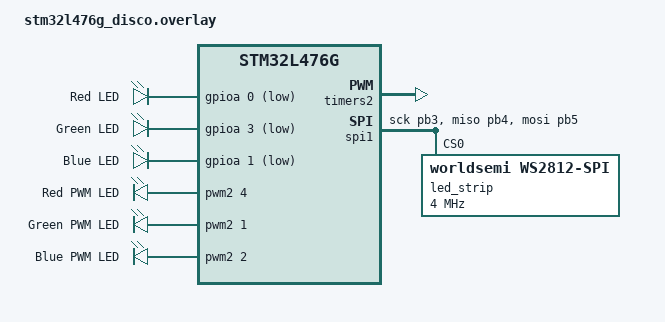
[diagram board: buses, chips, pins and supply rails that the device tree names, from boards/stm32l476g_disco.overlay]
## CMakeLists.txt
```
cmake_minimum_required(VERSION 3.20.5)

list(APPEND ZEPHYR_EXTRA_MODULES ${CMAKE_CURRENT_LIST_DIR}/../../)
find_package(Zephyr REQUIRED HINTS $ENV{ZEPHYR_BASE})
project(demo_led)

target_sources(app PRIVATE src/main.c)
```

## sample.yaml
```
sample:
  name: demo_led
common:
  tags: LED
  build_only: true
  integration_platforms:
    - nucleo_l432kc
tests:
  demo_led.gpio:
    filter: dt_compat_enabled("gpio-leds")

  demo_led.no_workqueue:
    filter: dt_compat_enabled("gpio-leds")
    extra_args:
      - CONFIG_APP_LED_USE_WORKQUEUE=n

  demo_led.pwm:
    filter: dt_compat_enabled("pwm-leds")
    extra_overlay_confs:
      - prj_pwm.conf

  demo_led.ws2812:
    filter: dt_alias_exists("led-strip")
    extra_overlay_confs:
      - prj_ws2812.conf
```

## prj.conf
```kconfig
CONFIG_LOG=y
CONFIG_GPIO=y
CONFIG_LED=y
CONFIG_APP_LED=y
```

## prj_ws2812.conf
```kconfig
CONFIG_SPI=y
CONFIG_LED_STRIP=y
CONFIG_WS2812_STRIP_SPI=y
```

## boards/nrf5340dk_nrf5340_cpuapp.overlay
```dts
&pinctrl {
	pwm0_default_alt: pwm0_default_alt {
				group1 {
					psels = <NRF_PSEL(PWM_OUT0, 0, 28)>, // red
						<NRF_PSEL(PWM_OUT1, 0, 29)>, // green
						<NRF_PSEL(PWM_OUT2, 0, 30)>; // blue
					nordic,invert;
				};
			};

	pwm0_sleep_alt: pwm0_sleep_alt {
				group1 {
					psels = <NRF_PSEL(PWM_OUT0, 0, 28)>, // red
						<NRF_PSEL(PWM_OUT1, 0, 29)>, // green
						<NRF_PSEL(PWM_OUT2, 0, 30)>; // blue
				};
			};
};

&pwm0 {
	status = "okay";
	pinctrl-0 = <&pwm0_default_alt>;
	pinctrl-1 = <&pwm0_sleep_alt>;
	pinctrl-names = "default", "sleep";
};

/ {
	rgbled {
		compatible = "gpio-leds";

		red_led: led_0 {
			gpios = <&gpio0 28 GPIO_ACTIVE_LOW>;
			label = "Red LED";
		};

		green_led: led_1 {
			gpios = <&gpio0 29 GPIO_ACTIVE_LOW>;
			label = "Green LED";
		};

		blue_led: led_2 {
			gpios = <&gpio0 30 GPIO_ACTIVE_LOW>;
			label = "Blue LED";
		};
	};

	/delete-node/ pwmleds;
	pwmleds {
		compatible = "pwm-leds";

		red_pwm_led: led_pwm_0 {
			pwms = <&pwm0 0 PWM_HZ(200) PWM_POLARITY_INVERTED>;
			label = "Red PWM LED";
		};

		green_pwm_led: led_pwm_1 {
			pwms = <&pwm0 1 PWM_HZ(200) PWM_POLARITY_INVERTED>;
			label = "Green PWM LED";
		};

		blue_pwm_led: led_pwm_2 {
			pwms = <&pwm0 2 PWM_HZ(200) PWM_POLARITY_INVERTED>;
			label = "Blue PWM LED";
		};
	};

	aliases {
		led0 = &red_led;
		led1 = &green_led;
		led2 = &blue_led;
		pwm-led0 = &red_pwm_led;
		pwm-led1 = &green_pwm_led;
		pwm-led2 = &blue_pwm_led;
		red-pwm-led = &red_pwm_led;
		green-pwm-led = &green_pwm_led;
		blue-pwm-led = &blue_pwm_led;
	};
};
```

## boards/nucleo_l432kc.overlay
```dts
/ {
	leds: leds {
		compatible = "gpio-leds";
		red_led: led_1 {
			gpios = <&gpioa 0 GPIO_ACTIVE_LOW>;
			label = "Red LED";
		};
		green_led: led_0 {
			gpios = <&gpioa 3 GPIO_ACTIVE_HIGH>;
			label = "User LD3";
		};
		blue_led: led_2 {
			gpios = <&gpioa 1 GPIO_ACTIVE_LOW>;
			label = "Blue LED";
		};
	};
};
```

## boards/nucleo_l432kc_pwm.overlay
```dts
/ {
	pwmleds {
		compatible = "pwm-leds";

		red_pwm_led: led_pwm_0 {
			pwms = <&pwm2 4 PWM_HZ(200) PWM_POLARITY_INVERTED>;
			label = "Red PWM LED";
		};

		green_pwm_led: led_pwm_1 {
			pwms = <&pwm2 1 PWM_HZ(200) PWM_POLARITY_INVERTED>;
			label = "Green PWM LED";
		};

		blue_pwm_led: led_pwm_2 {
			pwms = <&pwm2 2 PWM_HZ(200) PWM_POLARITY_INVERTED>;
			label = "Blue PWM LED";
		};
	};
};

&timers2 {
	status = "okay";

	pwm2: pwm {
		status = "okay";
		pinctrl-0 = <&tim2_ch1_pa0 &tim2_ch2_pa1 &tim2_ch4_pa3>;
		pinctrl-names = "default";
	};
};
```

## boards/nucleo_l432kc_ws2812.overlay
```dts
#include <zephyr/dt-bindings/led/led.h>

/ {
	// keep leds because default green_led mapped to pb3 which conflicts with spi1_sck and
	// causes hang: https://github.com/zephyrproject-rtos/zephyr/issues/33169
	leds: leds {
		compatible = "gpio-leds";
		red_led: led_1 {
			gpios = <&gpioa 0 GPIO_ACTIVE_LOW>;
			label = "Red LED";
		};
		green_led: led_0 {
			gpios = <&gpioa 3 GPIO_ACTIVE_HIGH>;
			label = "User LD3";
		};
		blue_led: led_2 {
			gpios = <&gpioa 1 GPIO_ACTIVE_LOW>;
			label = "Blue LED";
		};
	};

	aliases {
		led-strip = &led_strip;
	};
};

&spi1 {
	status = "okay";
	pinctrl-0 = <&spi1_nss_pa15 &spi1_sck_pb3 &spi1_miso_pb4 &spi1_mosi_pb5>;

	led_strip: ws2812@0 {
		compatible = "worldsemi,ws2812-spi";

		/* SPI */
		reg = <0>; /* ignored, but necessary for SPI bindings */
		spi-max-frequency = <4000000>;
		frame-format = <32768>; /* SPI_FRAME_FORMAT_TI */

		/* WS2812 */
		chain-length = <6>; /* arbitrary; change at will */
		reset-delay = <50>; /* default 8 us but 50 us in datasheet and helps prevent flicker */
		spi-one-frame = <0x70>;
		spi-zero-frame = <0x40>;
		color-mapping = <LED_COLOR_ID_GREEN LED_COLOR_ID_RED LED_COLOR_ID_BLUE>;
	};
};
```

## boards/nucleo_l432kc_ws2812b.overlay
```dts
#include <zephyr/dt-bindings/led/led.h>

/ {
	aliases {
		led-strip = &led_strip;
	};
};

&spi1 {
	status = "okay";
	pinctrl-0 = <&spi1_sck_pb3 &spi1_miso_pb4 &spi1_mosi_pb5>;

	led_strip: ws2812@0 {
		compatible = "worldsemi,ws2812-spi";

		/* SPI */
		reg = <0>; /* ignored, but necessary for SPI bindings */
		spi-max-frequency = <4000000>;
		frame-format = <32768>; /* SPI_FRAME_FORMAT_TI */

		/* WS2812 */
		chain-length = <16>; /* arbitrary; change at will */
		reset-delay = <50>; /* default 8 us but 50 us in datasheet and helps prevent flicker */
		spi-one-frame = <0x70>;
		spi-zero-frame = <0x40>;
		color-mapping = <LED_COLOR_ID_GREEN LED_COLOR_ID_RED LED_COLOR_ID_BLUE>;
	};
};
```

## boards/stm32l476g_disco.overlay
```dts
/ {
	leds {
		compatible = "gpio-leds";
		led0: rled {
			gpios = <&gpioa 0 GPIO_ACTIVE_LOW>;
			label = "Red LED";
		};
		led1: gled {
			gpios = <&gpioa 3 GPIO_ACTIVE_LOW>;
			label = "Green LED";
		};
		led2: bled {
			gpios = <&gpioa 1 GPIO_ACTIVE_LOW>;
			label = "Blue LED";
		};
	};

	pwmleds {
		compatible = "pwm-leds";

		red_pwm_led: led_pwm_0 {
			pwms = <&pwm2 4 PWM_HZ(200) PWM_POLARITY_INVERTED>;
			label = "Red PWM LED";
		};

		green_pwm_led: led_pwm_1 {
			pwms = <&pwm2 1 PWM_HZ(200) PWM_POLARITY_INVERTED>;
			label = "Green PWM LED";
		};

		blue_pwm_led: led_pwm_2 {
			pwms = <&pwm2 2 PWM_HZ(200) PWM_POLARITY_INVERTED>;
			label = "Blue PWM LED";
		};
	};

	aliases {
		led-strip = &led_strip;
	};
};

&timers2 {
	status = "okay";

	pwm2: pwm {
		status = "okay";
		pinctrl-0 = <&tim2_ch1_pa0 &tim2_ch2_pa1 &tim2_ch4_pa3>;
		pinctrl-names = "default";
	};
};

&spi1 {
	status = "okay";
	pinctrl-0 = <&spi1_sck_pb3 &spi1_miso_pb4 &spi1_mosi_pb5>;

	led_strip: ws2812@0 {
		compatible = "worldsemi,ws2812-spi";

		/* SPI */
		reg = <0>; /* ignored, but necessary for SPI bindings */
		spi-max-frequency = <4000000>;
		frame-format = <32768>; /* SPI_FRAME_FORMAT_TI */

		/* WS2812 */
		chain-length = <16>; /* arbitrary; change at will */
		reset-delay = <50>; /* default 8 us but 50 us in datasheet and helps prevent flicker */
		spi-one-frame = <0x70>;
		spi-zero-frame = <0x40>;
		color-mapping = <LED_COLOR_ID_GREEN LED_COLOR_ID_RED LED_COLOR_ID_BLUE>;
	};
};
```

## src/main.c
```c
/**
 * @file main.c
 * @brief App LED demo application
 *
 * Demos main app_led API with a single RGB LED strip or GPIO/PWM LEDs
 *
 */
#include <zephyr/device.h>
#include <zephyr/kernel.h>
#include <zephyr/logging/log.h>

#include <app_led/led.h>

LOG_MODULE_REGISTER(demo_app_led, LOG_LEVEL_INF);

#if IS_ENABLED(CONFIG_LED_STRIP)
#include <zephyr/drivers/led_strip.h>
#define LED_NODE_ID DT_ALIAS(led_strip)

#elif IS_ENABLED(CONFIG_LED_PWM)

#include <zephyr/drivers/pwm.h>
#define LED_NODE_ID DT_COMPAT_GET_ANY_STATUS_OKAY(pwm_leds)
#define NUM_LEDS    DT_CHILD_NUM(LED_NODE_ID)

#elif IS_ENABLED(CONFIG_LED)

#include <zephyr/drivers/gpio.h>
#define LED_NODE_ID DT_COMPAT_GET_ANY_STATUS_OKAY(gpio_leds)
#define NUM_LEDS    DT_CHILD_NUM(LED_NODE_ID)

#else
#error "CONFIG_LED_STRIP, CONFIG_LED or CONFIG_LED_PWM must be set"
#endif

#if IS_ENABLED(CONFIG_LED_STRIP)
/* APP_LED_STATIC_STRIP_DEFINE can be used but this helper gets NUM_LEDS from the chain-length
 * property of the led_strip node.
 */
APP_LED_STATIC_STRIP_DEFINE(aled, LED_NODE_ID);
#else
APP_LED_STATIC_DEFINE(aled, LED_NODE_ID, NUM_LEDS, CONFIG_APP_LED_PIN_RGB);
#endif

int main(void)
{
	LOG_INF("Zephyros App_LED Demo Application Started");

	/* Initialize the app_led module and internal update thread */
	int ret = app_led_init(&aled);
	if (ret != 0) {
		LOG_ERR("App LED module initialization failed: %d", ret);
		return 1;
	}

	/* Set solid colors and brightness in manual control mode (default)
	 * acts like a normal LED so no state machine.
	 */
	LOG_INF("Setting color to Red");
	app_led_set_global_brightness(&aled, 255, K_MSEC(100));
	app_led_set_global_color(&aled, RGBHEX(Red), K_MSEC(100));
	k_sleep(K_SECONDS(1));

	LOG_INF("Setting color to Green");
	app_led_set_global_brightness(&aled, 128, K_MSEC(100));
	app_led_set_global_color(&aled, RGBHEX(Green), K_MSEC(100));
	k_sleep(K_SECONDS(1));

	/* Blink the LED async from App logic */
	LOG_INF("Setting mode to Blink (Blue, 200/200 ms on/off)");
	app_led_blink(&aled, RGBHEX(Blue), 200, 200, true, K_MSEC(100));
	/* The app_led_wait_x() functions are blocking callthat will wait for the
	 * blink to finish or the timeout to expire - so this will block for ~400 ms
	 *
	 * Useful to wait for blink to complete before blinking again as below
	 */
	app_led_wait_blink(&aled, K_SECONDS(2));
	LOG_INF("Setting mode to Blink (Pink, 600/200 ms on/off)");
	app_led_blink(&aled, RGBHEX(DarkCyan), 600, 400, true, K_MSEC(100));
	app_led_wait_blink(&aled, K_SECONDS(2));

	/* Example of using the app_led_indicate_act() function to indicate activity
	 * with a short blink of the LED. This is not a blocking call, so it can be
	 * used in a loop or in an interrupt context.
	 *
	 * It will maintain blink period (50 ms) by not overriding so visable even if called at
	 * faster rate.
	 */
	for (int i = 0; i < 2000; i++) {
		app_led_indicate_act(&aled, Orange);
		k_sleep(K_MSEC(1));
	}

	/* Run a sequence async from App - see led.h for more details of other sequences */
	LOG_INF("Setting mode to Sequence (Test Sequence, repeat forever)");
	/* -1 is repeat indefinitely, 0 is run once, >0 is number of repeats */
	app_led_run_sequence(&aled, app_led_test_sequence, -1, K_MSEC(100));
	/* Block again, since it's -1 it will wait for 3 seconds to let the sequence run */
	app_led_wait_sequence(&aled, K_SECONDS(3));

	/* Run sine wave 5 times */
	app_led_run_sequence(&aled, app_led_sine_sequence, 5, K_MSEC(100));
	app_led_wait_sequence(&aled, K_SECONDS(5));

	/* Run rainbow mode; increases hue with each app_led task update to create a rainbow
	 * effect async to App.
	 */
	LOG_INF("Setting mode to Rainbow");
	app_led_set_mode(&aled, Rainbow, K_MSEC(100));
	app_led_set_global_brightness(&aled, 255, K_MSEC(100));
	/* Block App for 5 seconds to show rainbow */
	k_sleep(K_SECONDS(5));
	app_led_set_mode(&aled, Manual, K_MSEC(100));

	/* Clear and fade off the LED */
	LOG_INF("Clearing sequence/blink and turning off");
	/*  Clear sequence - we know already clear but just for demo */
	app_led_sequence_clear(&aled, K_MSEC(100));
	app_led_set_global_color(&aled, RGBHEX(White), K_MSEC(100));
	app_led_fade_off(&aled, 1000, K_MSEC(100));

	LOG_INF("Demo finished cycle.");

	return 0;
}
```
